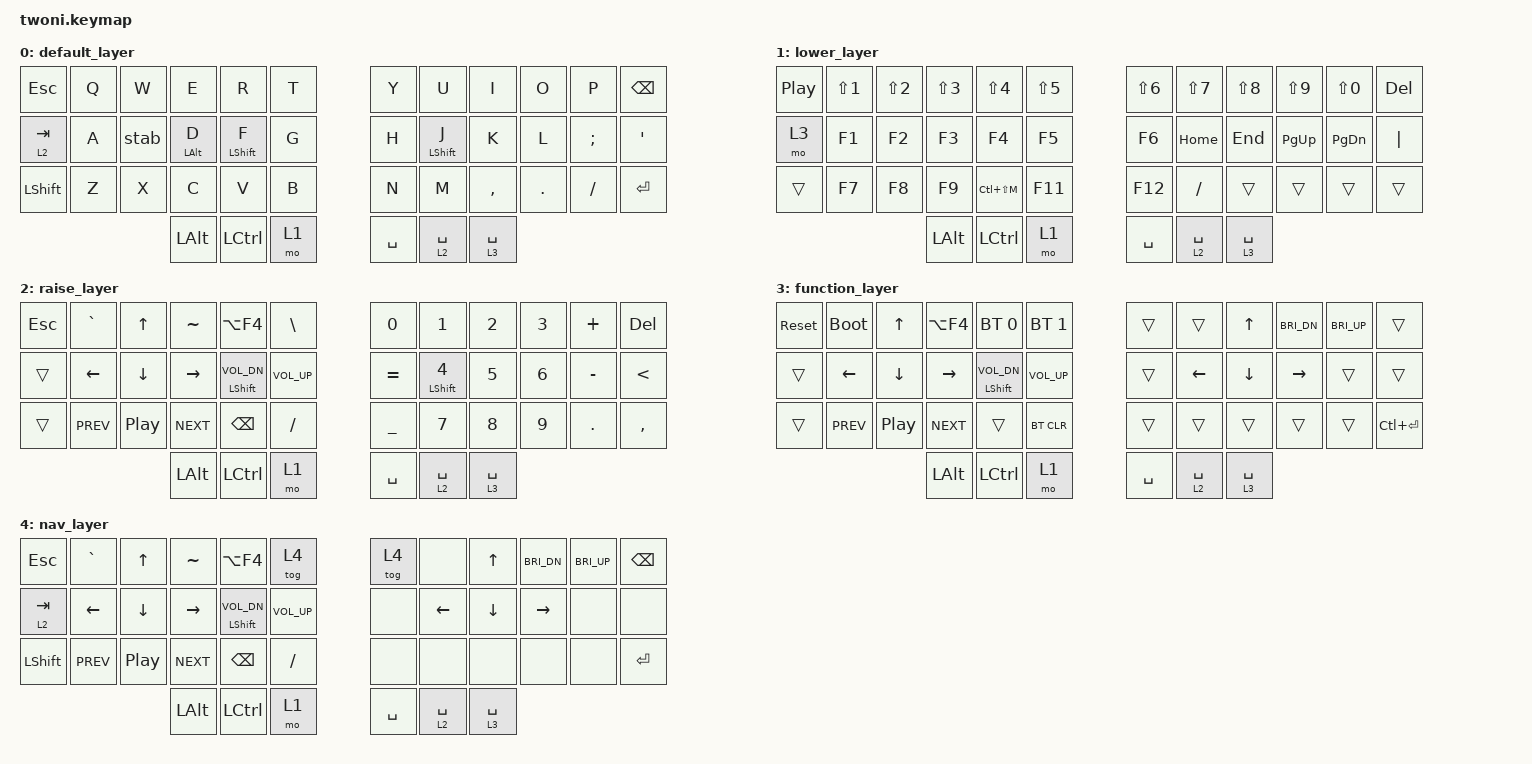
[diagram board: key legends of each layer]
/*
 * Copyright (c) 2020 The ZMK Contributors
 *
 * SPDX-License-Identifier: MIT
 */

#include <behaviors.dtsi>
#include <dt-bindings/zmk/keys.h>
#include <dt-bindings/zmk/bt.h>

// build
// west build -p -b nice_nano -- -DSHIELD=twoni_left
// west build -d build/right -b nice_nano -- -DSHIELD=twoni_right

/ {
        combos {
		compatible = "zmk,combos";
		combo_del {
		    timeout-ms = <40>;
		    key-positions = <10 11>;	// p backspace
		    bindings = <&kp DEL>;
		};
		combo_esc {
		    timeout-ms = <40>;
		    key-positions = <1 2>;		// q w
		    bindings = <&kp ESC>;
		};
		combo_slash {
			timeout-ms = <50>;
		    key-positions = <32 33>;	// , .
		    bindings = <&kp FSLH>;
		};		
		combo_question_mark {
			timeout-ms = <50>;
		    key-positions = <33 34>;	// . UP
		    bindings = <&kp QMARK>;
		};
		combo_gui {
			timeout-ms = <50>;
		    key-positions = <37 38>;	// 
		    bindings = <&kp LGUI>;
		};                
		combo_paren_left {
			timeout-ms = <40>;
		    key-positions = <15 16>;	// d f 
		    bindings = <&kp LPAR>;
		};		
		combo_paren_right {
			timeout-ms = <40>;
		    key-positions = <19 20>;	// j k 
		    bindings = <&kp RPAR>;
		};
		combo_curly_left {
			timeout-ms = <40>;
		    key-positions = <14 15>;	// s d 
		    bindings = <&kp LBRC>;
		};
		combo_curly_right {
			timeout-ms = <40>;
		    key-positions = <20 21>;	// k l
		    bindings = <&kp RBRC>;
		};
		combo_square_left {
			timeout-ms = <40>;
		    key-positions = <15 28>;	// d v 
		    bindings = <&kp LBKT>;
		};
		combo_square_right {
			timeout-ms = <40>;
		    key-positions = <20 31>;	// m k
		    bindings = <&kp RBKT>;
		};	
		combo_toggle {
			timeout-ms = <40>;
		    key-positions = <14 15 37>;	// s d ctrl 
		    bindings = <&tog 4>;
		};	
	};
	
	behaviors {
        hm: homerow_mods {
            compatible = "zmk,behavior-hold-tap";
            label = "HOMEROW_MODS";
            #binding-cells = <2>;
            tapping-term-ms = <200>;
            quick_tap_ms = <0>;
            flavor = "tap-preferred";
            bindings = <&kp>, <&kp>;
            };
		ftab: f_tab {
            compatible = "zmk,behavior-mod-morph";
            label = "F_TAB";
            #binding-cells = <0>;
            bindings = <&kp F>, <&kp TAB>;
            mods = <MOD_LALT>;
        };
		stab: s_shift_tab {
            compatible = "zmk,behavior-mod-morph";
            label = "S_TAB";
            #binding-cells = <0>;
            bindings = <&kp S>, <&kp LS(TAB)>;
            mods = <MOD_LALT>;
        };
		am_f: alpha_mod_f_tab {
            compatible = "zmk,behavior-hold-tap";
            label = "F_MT";
            #binding-cells = <2>;
            tapping-term-ms = <200>;
            quick_tap_ms = <0>;
            flavor = "tap-preferred";
            bindings = <&kp>, <&ftab>;
        };
	};
	
        keymap {
                compatible = "zmk,keymap";

                default_layer {
// -----------------------------------------------------------------------------------------
// |  TAB |  Q  |  W  |  E  |  R  |  T  |                |  Y  |  U   |  I  |  O  |  P  | BKSP |
// | CTRL |  A  |  S  |  D  |  F  |  G  |                |  H  |  J   |  K  |  L  |  ;  |  '   |
// | SHFT |  Z  |  X  |  C  |  V  |  B  |                |  N  |  M   |  ,  |  .  |  /  | SHFT |
//                          | GUI | LWR | ENT |    | SPC | RSE  | ALT |
                        bindings = <
   &kp ESC      &kp Q   &kp W   	&kp E   		&kp R 			&kp T           &kp Y   &kp U           &kp I     		&kp O   &kp P         &kp BSPC
   &lt 2 TAB    &kp A   &stab		&hm LALT D	 		&am_f LSHFT F 	&kp G           &kp H   &hm LSHFT J     &kp K     		&kp L   &kp SEMI      &kp SQT
   &kp LSHFT    &kp Z   &kp X   	&kp C   		&kp V 			&kp B           &kp N   &kp M           &kp COMMA 		&kp DOT &kp FSLH      &kp RET
                                &kp LALT &kp LCTRL &mo 1        				&kp SPACE &lt 2 SPACE &lt 3 SPACE
                        >;
                };
                lower_layer {
                        bindings = <
        &kp C_PP	&kp LS(N1) 	&kp LS(N2) 	&kp LS(N3) 	&kp LS(N4) 		&kp LS(N5) 	&kp LS(N6) 	&kp LS(N7) 	&kp LS(N8) 	&kp LS(N9) 	&kp LS(N0) 	&kp DEL
        &mo 3		&kp F1 		&kp F2 		&kp F3 		&kp F4 			&kp F5  	&kp F6 	 	&kp HOME 	&kp END 	&kp PG_UP	&kp PG_DN	&kp PIPE
        &trans		&kp F7 		&kp F8 		&kp F9 		&kp LC(LS(M))	&kp F11 	&kp F12 	&kp FSLH 	&trans	 	&trans  	&trans  	&trans
                                &kp LALT &kp LCTRL &mo 1        &kp SPACE &lt 2 SPACE &lt 3 SPACE
                        >;
                };

                raise_layer {
                        bindings = <
	&kp ESC 	&kp GRAVE 	&kp UP	 	&kp TILDE	&kp LA(F4) 				&kp BSLH 		&kp N0 		&kp N1 			&kp N2 		&kp N3 		&kp PLUS 	&kp DEL
	&trans		&kp LEFT 	&kp DOWN  	&kp RIGHT 	&hm LSHFT C_VOL_DN  	&kp C_VOL_UP 	&kp EQUAL 	&hm LSHFT N4 	&kp N5 		&kp N6 		&kp MINUS 	&kp LT
	&trans 		&kp C_PREV 	&kp C_PP 	&kp C_NEXT 	&kp BSPC 	 			&kp FSLH		&kp UNDER 	&kp N7 			&kp N8 		&kp N9 		&kp DOT 	&kp COMMA
                                &kp LALT &kp LCTRL &mo 1        &kp SPACE &lt 2 SPACE &lt 3 SPACE
                        >;
                };
	
                function_layer {
                        bindings = <
	&sys_reset 	&bootloader 	&kp UP		&kp LA(F4)	&bt BT_SEL 0 	    	&bt BT_SEL 1 		&trans		&trans	     &kp UP 	&kp C_BRI_DN 	&kp C_BRI_UP 	&trans
	&trans 	&kp LEFT 		&kp DOWN 	&kp RIGHT	&hm LSHFT C_VOL_DN  	&kp C_VOL_UP 	&trans      &kp LEFT 	&kp DOWN 	&kp RIGHT 		&trans			&trans
	&trans 	&kp C_PREV 		&kp C_PP 	&kp C_NEXT 	&trans	 	    		&bt BT_CLR 	&trans		&trans 		&trans 		&trans 	        &trans 	        &kp LC(RET)
                                &kp LALT &kp LCTRL &mo 1        &kp SPACE &lt 2 SPACE &lt 3 SPACE
                        >;
                };

				nav_layer {
                        bindings = <
	&kp ESC 	&kp GRAVE 	&kp UP	 	&kp TILDE	&kp LA(F4) 				&tog 4 			&tog 4    		&none      &kp UP 		&kp C_BRI_DN 	&kp C_BRI_UP 	&kp BSPC
	&lt 2 TAB	&kp LEFT 	&kp DOWN  	&kp RIGHT 	&hm LSHFT C_VOL_DN  	&kp C_VOL_UP 	&none          &kp LEFT 	&kp DOWN 	&kp RIGHT 		&none			&none
	&kp LSHFT 	&kp C_PREV 	&kp C_PP 	&kp C_NEXT 	&kp BSPC 	 			&kp FSLH		&none			&none 		&none			&none 	     &none 	        &kp RET
                                &kp LALT &kp LCTRL &mo 1        &kp SPACE &lt 2 SPACE &lt 3 SPACE
                        >;
                };      
        };
};
